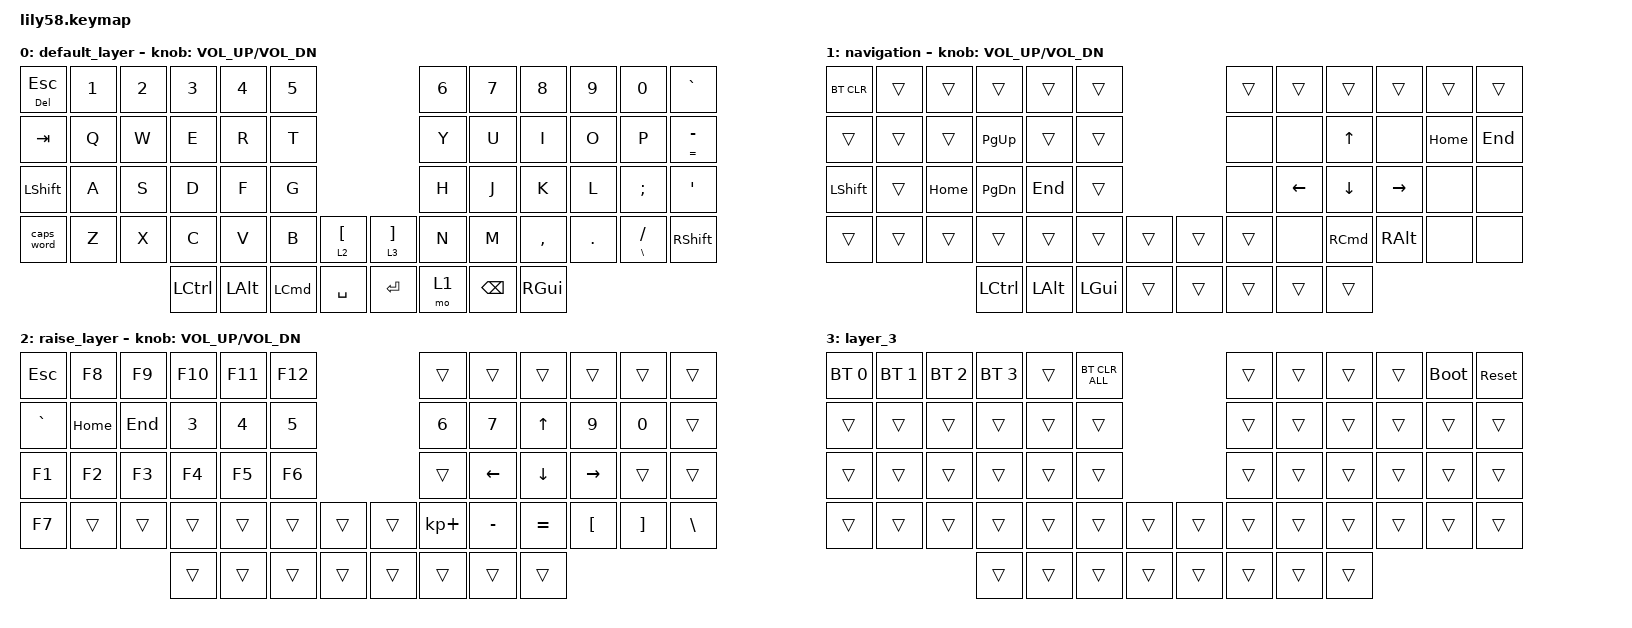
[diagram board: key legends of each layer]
/*
 * Copyright (c) 2020 The ZMK Contributors
 *
 * SPDX-License-Identifier: MIT
 */

#include <behaviors.dtsi>
#include <dt-bindings/zmk/bt.h>
#include <dt-bindings/zmk/keys.h>

/ {
    behaviors {
        holdtap: holdtap {
            compatible = "zmk,behavior-hold-tap";
            label = "HOLDTAP";
            bindings = <&kp>, <&kp>;

            #binding-cells = <2>;
            tapping-term-ms = <200>;
            quick-tap-ms = <175>;
            flavor = "tap-preferred";
        };

        mo_mt: mo_mt {
            compatible = "zmk,behavior-hold-tap";
            label = "MO_MT";
            bindings = <&mo>, <&kp>;

            #binding-cells = <2>;
            tapping-term-ms = <200>;
            quick-tap-ms = <175>;
            flavor = "balanced";
        };
    };

    keymap {
        compatible = "zmk,keymap";

        default_layer {
            // ------------------------------------------------------------------------------------------------------------
            // | DEL/ESC |  1  |  2  |  3  |  4  |  5  |                     |  6  |  7  |  8  |  9  |  0  |   `    |
            // |   TAB   |  Q  |  W  |  E  |  R  |  T  |                     |  Y  |  U  |  I  |  O  |  P  |  =/-   |
            // | LSHIFT  |  A  |  S  |  D  |  F  |  G  |                     |  H  |  J  |  K  |  L  |  ;  |   '    |
            // | CAPSWRD |  Z  |  X  |  C  |  V  |  B  | MO2/[ |  | MO3/] |  N  |  M  |  ,  |  .  | /\\ | RSHIFT |
            //                      | LCTRL | LALT | LGUI | SPACE |  | ENTER | MO1 | BSPC | RGUI |
            // hold-taps: DEL/ESC = tap ESC · hold DELETE  |  =/- = tap - · hold =  |  /\\ = tap / · hold \
            //            MO2/[ e MO3/] = hold entra na layer · tap [ ]  ·  CAPSWRD = &caps_word (no lugar do GLOBE)
            // layers:    MO1 = &mo 1 (navigation)  |  MO2 = raise_layer (2)  |  MO3 = layer_3 (3)

            bindings = <
&holdtap DELETE ESC    &kp N1  &kp N2  &kp N3     &kp N4        &kp N5                                                             &kp N6  &kp N7         &kp N8     &kp N9   &kp N0                   &kp GRAVE
&kp TAB                &kp Q   &kp W   &kp E      &kp R         &kp T                                                              &kp Y   &kp U          &kp I      &kp O    &kp P                    &holdtap EQUAL MINUS
&kp LEFT_SHIFT         &kp A   &kp S   &kp D      &kp F         &kp G                                                              &kp H   &kp J          &kp K      &kp L    &kp SEMI                 &kp SQT
&caps_word             &kp Z   &kp X   &kp C      &kp V         &kp B             &mo_mt 2 LEFT_BRACKET    &mo_mt 3 RIGHT_BRACKET  &kp N   &kp M          &kp COMMA  &kp DOT  &holdtap BACKSLASH FSLH  &kp RSHFT
                                       &kp LCTRL  &kp LEFT_ALT  &kp LEFT_COMMAND  &kp SPACE                &kp RET                 &mo 1   &kp BACKSPACE  &kp RGUI
            >;

            sensor-bindings = <&inc_dec_kp C_VOL_UP C_VOL_DN>;
        };

        navigation {
            bindings = <
&bt BT_CLR      &trans  &trans    &trans        &trans        &trans                          &trans  &trans    &trans          &trans         &trans    &trans
&trans          &trans  &trans    &kp PAGE_UP   &trans        &trans                          &none   &none     &kp UP          &none          &kp HOME  &kp END
&kp LEFT_SHIFT  &trans  &kp HOME  &kp PAGE_DOWN &kp END       &trans                          &none   &kp LEFT  &kp DOWN_ARROW  &kp RIGHT      &none     &none
&trans          &trans  &trans    &trans        &trans        &trans        &trans    &trans  &trans  &none     &kp RCMD        &kp RIGHT_ALT  &none     &none
                                  &kp LCTRL     &kp LEFT_ALT  &kp LEFT_GUI  &trans    &trans  &trans  &trans    &trans
            >;

            sensor-bindings = <&inc_dec_kp C_VOL_UP C_VOL_DN>;
        };

        raise_layer {
            // ------------------------------------------------------------------------------------------------------------
            // |       |     |     |      |      |      |                   |      |       |       |      |       |       |
            // |   `   |  1  |  2  |  3   |  4   |  5   |                   |  6   |   7   |   8   |  9   |   0   |       |
            // |   F1  |  F2 |  F3 |  F4  |  F5  |  F6  |                   |      |   <-  |   v   |  ^   |  ->   |       |
            // |   F7  |  F8 |  F9 |  F10 |  F11 |  F12 |        |  |       |  +   |   -   |   =   |  [   |   ]   |   \   |
            //                     |      |      |      |        |  |       |      |       |       |

            bindings = <
&kp ESC    &kp F8    &kp F9   &kp F10  &kp F11  &kp F12                    &trans       &trans     &trans     &trans     &trans    &trans
&kp GRAVE  &kp HOME  &kp END  &kp N3   &kp N4   &kp N5                     &kp N6       &kp N7     &kp UP     &kp N9     &kp N0    &trans
&kp F1     &kp F2    &kp F3   &kp F4   &kp F5   &kp F6                     &trans       &kp LEFT   &kp DOWN   &kp RIGHT  &trans    &trans
&kp F7     &trans    &trans   &trans   &trans   &trans   &trans    &trans  &kp KP_PLUS  &kp MINUS  &kp EQUAL  &kp LBKT   &kp RBKT  &kp BSLH
                              &trans   &trans   &trans   &trans    &trans  &trans       &trans     &trans
            >;

            sensor-bindings = <&inc_dec_kp C_VOL_UP C_VOL_DN>;
        };

        layer_3 {
            bindings = <
&bt BT_SEL 0  &bt BT_SEL 1  &bt BT_SEL 2  &bt BT_SEL 3  &trans  &bt BT_CLR_ALL                    &trans  &trans  &trans  &trans  &bootloader  &sys_reset
&trans        &trans        &trans        &trans        &trans  &trans                            &trans  &trans  &trans  &trans  &trans  &trans
&trans        &trans        &trans        &trans        &trans  &trans                            &trans  &trans  &trans  &trans  &trans  &trans
&trans        &trans        &trans        &trans        &trans  &trans          &trans    &trans  &trans  &trans  &trans  &trans  &trans  &trans
                                          &trans        &trans  &trans          &trans    &trans  &trans  &trans  &trans
            >;
        };
    };
};
